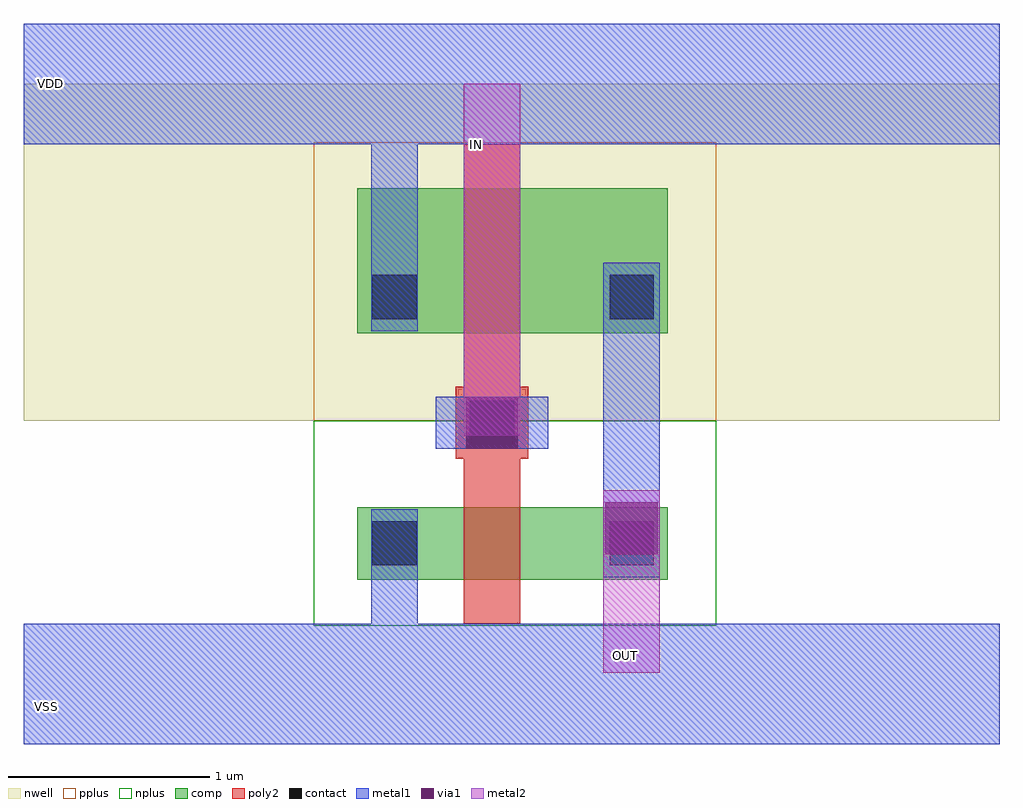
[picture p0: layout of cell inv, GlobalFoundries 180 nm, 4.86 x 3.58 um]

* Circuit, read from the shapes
.subckt inv IN OUT VDD VSS
XM1 OUT IN VSS VSUBS nfet_03v3 w=0.36u l=0.28u
XM2 OUT IN VDD n1 pfet_03v3 w=0.72u l=0.28u
.ends

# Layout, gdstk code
import gdstk
lib = gdstk.Library(unit=1e-6, precision=5e-09)
def R(c, l, rs):  # rectangles x0, y0, x1, y1
    for r in rs: c.add(gdstk.rectangle(r[:2], r[2:], *l))
nwell = (21, 0)
comp = (22, 0)
poly2 = (30, 0)
pplus = (31, 0)
nplus = (32, 0)
contact = (33, 0)
metal1 = (34, 0)
via1 = (35, 0)
metal2 = (36, 0)

inv = lib.new_cell('inv')
R(inv, nwell, [(0,1.375,4.855,3.05)])
R(inv, comp, [(1.66,0.585,3.205,0.945), (1.66,1.81,3.205,2.53)])
R(inv, poly2, [(2.19,0.365,2.47,2.75), (2.15,1.185,2.51,1.545)])
R(inv, pplus, [(1.445,1.375,3.445,2.76)])
R(inv, nplus, [(1.445,0.355,3.445,1.375)])
R(inv, contact, [(1.735,0.655,1.955,0.875), (2.915,0.655,3.135,0.875), (2.22,1.255,2.44,1.475), (1.735,1.88,1.955,2.1), (2.915,1.88,3.135,2.1)])
R(inv, metal1, [(0,-0.235,4.855,0.365), (1.73,0.365,1.96,0.935), (2.885,0.595,3.165,2.16), (2.05,1.235,2.61,1.495), (1.73,1.82,1.96,2.75), (0,2.75,4.855,3.35)])
R(inv, via1, [(2.895,0.71,3.155,0.97), (2.2,1.235,2.46,1.495)])
R(inv, metal2, [(2.885,0.12,3.165,1.03), (2.19,1.3,2.47,3.05)])
inv.add(gdstk.Label('VDD', (0.135,3.05), layer=34, texttype=10))
inv.add(gdstk.Label('VSS', (0.115,-0.045), layer=34, texttype=10))
inv.add(gdstk.Label('IN', (2.255,2.75), layer=36, texttype=10))
inv.add(gdstk.Label('OUT', (2.995,0.205), layer=36, texttype=10))

lib.write_gds('inv.gds')
